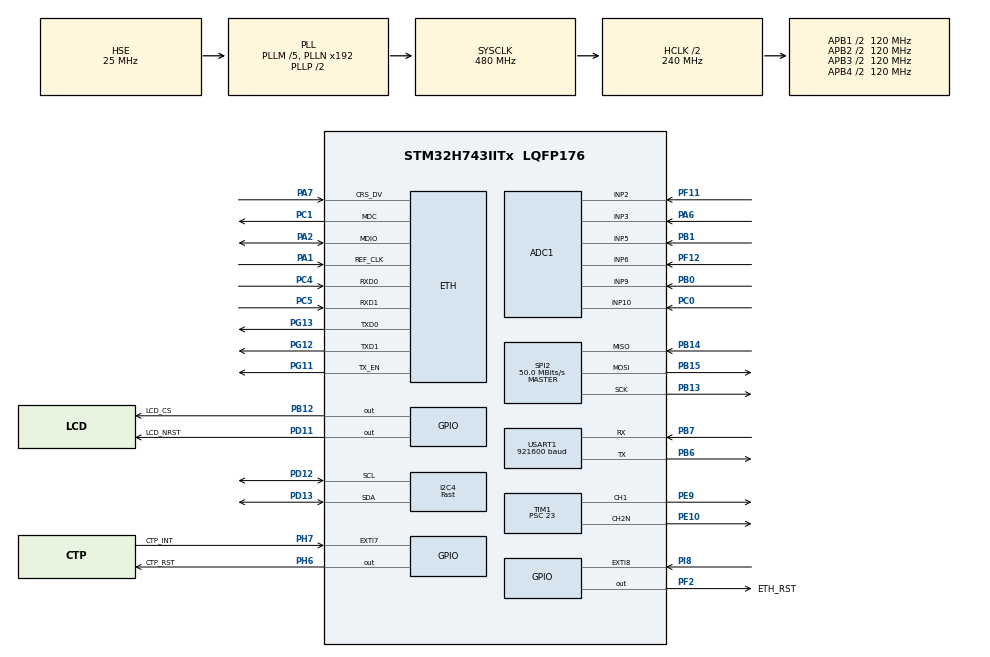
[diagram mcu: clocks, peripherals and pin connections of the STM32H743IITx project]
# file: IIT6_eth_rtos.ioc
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ADC1.Channel-0\#ChannelRegularConversion=ADC_CHANNEL_2
ADC1.Channel-1\#ChannelRegularConversion=ADC_CHANNEL_3
ADC1.Channel-2\#ChannelRegularConversion=ADC_CHANNEL_5
ADC1.Channel-3\#ChannelRegularConversion=ADC_CHANNEL_6
ADC1.Channel-4\#ChannelRegularConversion=ADC_CHANNEL_9
ADC1.Channel-5\#ChannelRegularConversion=ADC_CHANNEL_10
ADC1.ConversionDataManagement=ADC_CONVERSIONDATA_DMA_CIRCULAR
ADC1.DiscontinuousConvMode=DISABLE
ADC1.EOCSelection=ADC_EOC_SEQ_CONV
ADC1.ExternalTrigConv=ADC_EXTERNALTRIG_T15_TRGO
ADC1.NbrOfConversion=6
ADC1.NbrOfConversionFlag=1
ADC1.NbrOfDiscConversion=6
ADC1.OffsetNumber-0\#ChannelRegularConversion=ADC_OFFSET_NONE
ADC1.OffsetNumber-1\#ChannelRegularConversion=ADC_OFFSET_NONE
ADC1.OffsetNumber-2\#ChannelRegularConversion=ADC_OFFSET_NONE
ADC1.OffsetNumber-3\#ChannelRegularConversion=ADC_OFFSET_NONE
ADC1.OffsetNumber-4\#ChannelRegularConversion=ADC_OFFSET_NONE
ADC1.OffsetNumber-5\#ChannelRegularConversion=ADC_OFFSET_NONE
ADC1.OffsetSignedSaturation-0\#ChannelRegularConversion=DISABLE
ADC1.OffsetSignedSaturation-1\#ChannelRegularConversion=DISABLE
ADC1.OffsetSignedSaturation-2\#ChannelRegularConversion=DISABLE
ADC1.OffsetSignedSaturation-3\#ChannelRegularConversion=DISABLE
ADC1.OffsetSignedSaturation-4\#ChannelRegularConversion=DISABLE
ADC1.OffsetSignedSaturation-5\#ChannelRegularConversion=DISABLE
ADC1.Rank-0\#ChannelRegularConversion=1
ADC1.Rank-1\#ChannelRegularConversion=2
ADC1.Rank-2\#ChannelRegularConversion=3
ADC1.Rank-3\#ChannelRegularConversion=4
ADC1.Rank-4\#ChannelRegularConversion=5
ADC1.Rank-5\#ChannelRegularConversion=6
ADC1.SamplingTime-0\#ChannelRegularConversion=ADC_SAMPLETIME_2CYCLES_5
ADC1.SamplingTime-1\#ChannelRegularConversion=ADC_SAMPLETIME_2CYCLES_5
ADC1.SamplingTime-2\#ChannelRegularConversion=ADC_SAMPLETIME_2CYCLES_5
ADC1.SamplingTime-3\#ChannelRegularConversion=ADC_SAMPLETIME_2CYCLES_5
ADC1.SamplingTime-4\#ChannelRegularConversion=ADC_SAMPLETIME_2CYCLES_5
ADC1.SamplingTime-5\#ChannelRegularConversion=ADC_SAMPLETIME_2CYCLES_5
ADC1.master=1
CORTEX_M7.AccessPermission_S-Cortex_Memory_Protection_Unit_Region1_Settings_S=MPU_REGION_FULL_ACCESS
CORTEX_M7.AccessPermission_S-Cortex_Memory_Protection_Unit_Region2_Settings_S=MPU_REGION_FULL_ACCESS
CORTEX_M7.AccessPermission_S-Cortex_Memory_Protection_Unit_Region3_Settings_S=MPU_REGION_FULL_ACCESS
CORTEX_M7.AccessPermission_S-Cortex_Memory_Protection_Unit_Region4_Settings_S=MPU_REGION_FULL_ACCESS
CORTEX_M7.AccessPermission_S-Cortex_Memory_Protection_Unit_Region5_Settings_S=MPU_REGION_FULL_ACCESS
CORTEX_M7.AccessPermission_S-Cortex_Memory_Protection_Unit_Region6_Settings_S=MPU_REGION_FULL_ACCESS
CORTEX_M7.BaseAddress_S-Cortex_Memory_Protection_Unit_Region1_Settings_S=0x30040000
CORTEX_M7.BaseAddress_S-Cortex_Memory_Protection_Unit_Region2_Settings_S=0x30020000
CORTEX_M7.BaseAddress_S-Cortex_Memory_Protection_Unit_Region3_Settings_S=0x24000000
CORTEX_M7.BaseAddress_S-Cortex_Memory_Protection_Unit_Region5_Settings_S=0x20000000
CORTEX_M7.BaseAddress_S-Cortex_Memory_Protection_Unit_Region6_Settings_S=0x30000000
CORTEX_M7.CPU_DCache=Enabled
CORTEX_M7.CPU_ICache=Enabled
CORTEX_M7.DisableExec_S-Cortex_Memory_Protection_Unit_Region1_Settings_S=MPU_INSTRUCTION_ACCESS_DISABLE
CORTEX_M7.DisableExec_S-Cortex_Memory_Protection_Unit_Region2_Settings_S=MPU_INSTRUCTION_ACCESS_DISABLE
CORTEX_M7.DisableExec_S-Cortex_Memory_Protection_Unit_Region3_Settings_S=MPU_INSTRUCTION_ACCESS_DISABLE
CORTEX_M7.DisableExec_S-Cortex_Memory_Protection_Unit_Region5_Settings_S=MPU_INSTRUCTION_ACCESS_DISABLE
CORTEX_M7.DisableExec_S-Cortex_Memory_Protection_Unit_Region6_Settings_S=MPU_INSTRUCTION_ACCESS_DISABLE
CORTEX_M7.Enable_S-Cortex_Memory_Protection_Unit_Region1_Settings_S=MPU_REGION_ENABLE
CORTEX_M7.Enable_S-Cortex_Memory_Protection_Unit_Region2_Settings_S=MPU_REGION_ENABLE
CORTEX_M7.Enable_S-Cortex_Memory_Protection_Unit_Region3_Settings_S=MPU_REGION_ENABLE
CORTEX_M7.Enable_S-Cortex_Memory_Protection_Unit_Region4_Settings_S=MPU_REGION_ENABLE
CORTEX_M7.Enable_S-Cortex_Memory_Protection_Unit_Region5_Settings_S=MPU_REGION_ENABLE
CORTEX_M7.Enable_S-Cortex_Memory_Protection_Unit_Region6_Settings_S=MPU_REGION_ENABLE
CORTEX_M7.IsCacheable_S-Cortex_Memory_Protection_Unit_Region2_Settings_S=MPU_ACCESS_CACHEABLE
CORTEX_M7.IsCacheable_S-Cortex_Memory_Protection_Unit_Region3_Settings_S=MPU_ACCESS_CACHEABLE
CORTEX_M7.IsCacheable_S-Cortex_Memory_Protection_Unit_Region6_Settings_S=MPU_ACCESS_NOT_CACHEABLE
CORTEX_M7.IsShareable_S-Cortex_Memory_Protection_Unit_Region1_Settings_S=MPU_ACCESS_SHAREABLE
CORTEX_M7.IsShareable_S-Cortex_Memory_Protection_Unit_Region6_Settings_S=MPU_ACCESS_SHAREABLE
CORTEX_M7.Size_S-Cortex_Memory_Protection_Unit_Region1_Settings_S=MPU_REGION_SIZE_32KB
CORTEX_M7.Size_S-Cortex_Memory_Protection_Unit_Region2_Settings_S=MPU_REGION_SIZE_128KB
CORTEX_M7.Size_S-Cortex_Memory_Protection_Unit_Region3_Settings_S=MPU_REGION_SIZE_512KB
CORTEX_M7.Size_S-Cortex_Memory_Protection_Unit_Region4_Settings_S=MPU_REGION_SIZE_32KB
CORTEX_M7.Size_S-Cortex_Memory_Protection_Unit_Region5_Settings_S=MPU_REGION_SIZE_128KB
CORTEX_M7.Size_S-Cortex_Memory_Protection_Unit_Region6_Settings_S=MPU_REGION_SIZE_128KB
CORTEX_M7.TypeExtField_S-Cortex_Memory_Protection_Unit_Region1_Settings_S=MPU_TEX_LEVEL1
CORTEX_M7.TypeExtField_S-Cortex_Memory_Protection_Unit_Region2_Settings_S=MPU_TEX_LEVEL1
CORTEX_M7.TypeExtField_S-Cortex_Memory_Protection_Unit_Region3_Settings_S=MPU_TEX_LEVEL1
CORTEX_M7.TypeExtField_S-Cortex_Memory_Protection_Unit_Region4_Settings_S=MPU_TEX_LEVEL1
CORTEX_M7.TypeExtField_S-Cortex_Memory_Protection_Unit_Region5_Settings_S=MPU_TEX_LEVEL1
CORTEX_M7.TypeExtField_S-Cortex_Memory_Protection_Unit_Region6_Settings_S=MPU_TEX_LEVEL1
CORTEX_M7.default_mode_Activation=1
Dma.ADC1.1.Direction=DMA_PERIPH_TO_MEMORY
Dma.ADC1.1.EventEnable=DISABLE
Dma.ADC1.1.FIFOMode=DMA_FIFOMODE_DISABLE
Dma.ADC1.1.Instance=DMA1_Stream2
Dma.ADC1.1.MemDataAlignment=DMA_MDATAALIGN_HALFWORD
Dma.ADC1.1.MemInc=DMA_MINC_ENABLE
Dma.ADC1.1.Mode=DMA_CIRCULAR
Dma.ADC1.1.PeriphDataAlignment=DMA_PDATAALIGN_HALFWORD
Dma.ADC1.1.PeriphInc=DMA_PINC_DISABLE
Dma.ADC1.1.Polarity=HAL_DMAMUX_REQ_GEN_RISING
Dma.ADC1.1.Priority=DMA_PRIORITY_VERY_HIGH
Dma.ADC1.1.RequestNumber=1
Dma.ADC1.1.SignalID=NONE
Dma.ADC1.1.SyncEnable=DISABLE
Dma.ADC1.1.SyncPolarity=HAL_DMAMUX_SYNC_NO_EVENT
Dma.ADC1.1.SyncRequestNumber=1
Dma.ADC1.1.SyncSignalID=NONE
Dma.Request0=SPI2_TX
Dma.Request1=ADC1
Dma.SPI2_TX.0.Direction=DMA_MEMORY_TO_PERIPH
Dma.SPI2_TX.0.EventEnable=DISABLE
Dma.SPI2_TX.0.FIFOMode=DMA_FIFOMODE_ENABLE
Dma.SPI2_TX.0.FIFOThreshold=DMA_FIFO_THRESHOLD_FULL
Dma.SPI2_TX.0.Instance=DMA1_Stream0
Dma.SPI2_TX.0.MemBurst=DMA_MBURST_INC8
Dma.SPI2_TX.0.MemDataAlignment=DMA_MDATAALIGN_BYTE
Dma.SPI2_TX.0.MemInc=DMA_MINC_ENABLE
Dma.SPI2_TX.0.Mode=DMA_NORMAL
Dma.SPI2_TX.0.PeriphBurst=DMA_PBURST_SINGLE
Dma.SPI2_TX.0.PeriphDataAlignment=DMA_PDATAALIGN_BYTE
Dma.SPI2_TX.0.PeriphInc=DMA_PINC_DISABLE
Dma.SPI2_TX.0.Polarity=HAL_DMAMUX_REQ_GEN_RISING
Dma.SPI2_TX.0.Priority=DMA_PRIORITY_HIGH
Dma.SPI2_TX.0.RequestNumber=1
Dma.SPI2_TX.0.SignalID=NONE
Dma.SPI2_TX.0.SyncEnable=DISABLE
Dma.SPI2_TX.0.SyncPolarity=HAL_DMAMUX_SYNC_NO_EVENT
Dma.SPI2_TX.0.SyncRequestNumber=1
Dma.SPI2_TX.0.SyncSignalID=NONE
ETH.MediaInterface=HAL_ETH_RMII_MODE
ETH.RxBufferAddress=0x30040100
ETH.RxDescAddress=0x30040000
ETH.TxDescAddress=0x30040080
FREERTOS.HEAP_NUMBER=5
FREERTOS.Tasks01=defaultTask,24,1024,StartDefaultTask,Default,NULL,Dynamic,NULL,NULL
FREERTOS.configCHECK_FOR_STACK_OVERFLOW=2
FREERTOS.configENABLE_FPU=1
FREERTOS.configGENERATE_RUN_TIME_STATS=1
FREERTOS.configTOTAL_HEAP_SIZE=10240
FREERTOS.configUSE_MALLOC_FAILED_HOOK=1
FREERTOS.configUSE_STATS_FORMATTING_FUNCTIONS=1
I2C4.I2C_Speed_Mode=I2C_Fast
I2C4.Timing=0x009034B6
LWIP.BSP.number=1
LWIP.IP_ADDRESS=192.168.022.002
LWIP.LWIP_DHCP=0
LWIP.LWIP_RAM_HEAP_POINTER=0x30042000
LWIP.LWIP_TIMERS=1
LWIP.MEM_SIZE=10*1024
LWIP.Version=v2.1.2_Cube
LWIP0.BSP.STBoard=false
LWIP0.BSP.api=BSP_COMPONENT_DRIVER
LWIP0.BSP.component=LAN8742
LWIP0.BSP.instance=LAN8742
LWIP0.BSP.name=Driver_PHY
LWIP0.BSP.semaphore=S_LAN8742
LWIP0.BSP.solution=LAN8742
Mcu.Family=STM32H7
Mcu.Name=STM32H743IITx
Mcu.Package=LQFP176
NVIC.DMA1_Stream0_IRQn=true\:5\:0\:true\:false\:true\:true\:false\:true\:true
NVIC.DMA1_Stream2_IRQn=true\:5\:0\:false\:false\:true\:true\:false\:true\:true
NVIC.ETH_IRQn=true\:5\:0\:false\:false\:true\:true\:true\:true\:true
NVIC.ETH_WKUP_IRQn=true\:5\:0\:false\:false\:true\:true\:true\:true\:true
NVIC.EXTI9_5_IRQn=true\:6\:0\:true\:false\:true\:true\:true\:true\:true
NVIC.PriorityGroup=NVIC_PRIORITYGROUP_4
NVIC.SPI2_IRQn=true\:5\:0\:false\:false\:true\:true\:false\:true\:true
NVIC.TIM6_DAC_IRQn=true\:15\:0\:false\:false\:true\:false\:false\:true\:true
NVIC.TimeBase=TIM6_DAC_IRQn
NVIC.TimeBaseIP=TIM6
NVIC.USART1_IRQn=true\:6\:0\:true\:false\:true\:true\:true\:true\:true
PA1.GPIO_Speed=GPIO_SPEED_FREQ_VERY_HIGH
PA1.Mode=RMII
PA1.Signal=ETH_REF_CLK
PA13\ (JTMS/SWDIO).Mode=Serial_Wire
PA13\ (JTMS/SWDIO).Signal=DEBUG_JTMS-SWDIO
PA14\ (JTCK/SWCLK).Mode=Serial_Wire
PA14\ (JTCK/SWCLK).Signal=DEBUG_JTCK-SWCLK
PA2.GPIO_Speed=GPIO_SPEED_FREQ_VERY_HIGH
PA2.Mode=RMII
PA2.Signal=ETH_MDIO
PA6.Signal=ADCx_INP3
PA7.GPIO_Speed=GPIO_SPEED_FREQ_VERY_HIGH
PA7.Mode=RMII
PA7.Signal=ETH_CRS_DV
PB0.Signal=ADCx_INP9
PB1.Signal=ADCx_INP5
PB12.GPIO_Label=LCD_CS
PB12.GPIO_Speed=GPIO_SPEED_FREQ_LOW
PB12.Signal=GPIO_Output
PB13.GPIO_Speed=GPIO_SPEED_FREQ_VERY_HIGH
PB13.Mode=Full_Duplex_Master
PB13.Signal=SPI2_SCK
PB14.GPIO_Speed=GPIO_SPEED_FREQ_VERY_HIGH
PB14.Mode=Full_Duplex_Master
PB14.Signal=SPI2_MISO
PB15.GPIO_Speed=GPIO_SPEED_FREQ_VERY_HIGH
PB15.Mode=Full_Duplex_Master
PB15.Signal=SPI2_MOSI
PB6.Mode=Asynchronous
PB6.Signal=USART1_TX
PB7.Mode=Asynchronous
PB7.Signal=USART1_RX
PC0.Signal=ADCx_INP10
PC1.GPIO_Speed=GPIO_SPEED_FREQ_VERY_HIGH
PC1.Mode=RMII
PC1.Signal=ETH_MDC
PC14-OSC32_IN\ (OSC32_IN).Mode=LSE-External-Oscillator
PC14-OSC32_IN\ (OSC32_IN).Signal=RCC_OSC32_IN
PC15-OSC32_OUT\ (OSC32_OUT).Mode=LSE-External-Oscillator
PC15-OSC32_OUT\ (OSC32_OUT).Signal=RCC_OSC32_OUT
PC4.GPIO_Speed=GPIO_SPEED_FREQ_VERY_HIGH
PC4.Mode=RMII
PC4.Signal=ETH_RXD0
PC5.GPIO_Speed=GPIO_SPEED_FREQ_VERY_HIGH
PC5.Mode=RMII
PC5.Signal=ETH_RXD1
PD11.GPIO_Label=LCD_NRST
PD11.GPIO_Speed=GPIO_SPEED_FREQ_LOW
PD11.Signal=GPIO_Output
PD12.Mode=I2C
PD12.Signal=I2C4_SCL
PD13.Mode=I2C
PD13.Signal=I2C4_SDA
PE10.Mode=PWM Generation2 CH2N
PE10.Signal=TIM1_CH2N
PE9.Signal=S_TIM1_CH1
PF11.Mode=IN2-Single-Ended
PF11.Signal=ADC1_INP2
PF12.Mode=IN6-Single-Ended
PF12.Signal=ADC1_INP6
PF2.GPIO_Label=ETH_RST
PF2.GPIO_Speed=GPIO_SPEED_FREQ_VERY_HIGH
PF2.PinState=GPIO_PIN_SET
PF2.Signal=GPIO_Output
PG11.GPIO_Speed=GPIO_SPEED_FREQ_VERY_HIGH
PG11.Mode=RMII
PG11.Signal=ETH_TX_EN
PG12.GPIO_Speed=GPIO_SPEED_FREQ_VERY_HIGH
PG12.Mode=RMII
PG12.Signal=ETH_TXD1
PG13.GPIO_Speed=GPIO_SPEED_FREQ_VERY_HIGH
PG13.Mode=RMII
PG13.Signal=ETH_TXD0
PH0-OSC_IN\ (PH0).Mode=HSE-External-Oscillator
PH0-OSC_IN\ (PH0).Signal=RCC_OSC_IN
PH1-OSC_OUT\ (PH1).Mode=HSE-External-Oscillator
PH1-OSC_OUT\ (PH1).Signal=RCC_OSC_OUT
PH6.GPIO_Label=CTP_RST
PH6.Signal=GPIO_Output
PH7.GPIO_Label=CTP_INT
PH7.GPIO_ModeDefaultEXTI=GPIO_MODE_IT_FALLING
PH7.Signal=GPXTI7
PI8.GPIO_ModeDefaultEXTI=GPIO_MODE_IT_RISING_FALLING
PI8.GPIO_PuPd=GPIO_PULLDOWN
PI8.Signal=GPXTI8
ProjectManager.HeapSize=0x200
ProjectManager.StackSize=0x400
ProjectManager.TargetToolchain=CMake
RCC.ADCFreq_Value=100000000
RCC.APB1Freq_Value=120000000
RCC.APB2Freq_Value=120000000
RCC.APB3Freq_Value=120000000
RCC.APB4Freq_Value=120000000
RCC.CortexFreq_Value=480000000
RCC.D1PPRE=RCC_APB3_DIV2
RCC.D2PPRE1=RCC_APB1_DIV2
RCC.D2PPRE2=RCC_APB2_DIV2
RCC.D3PPRE=RCC_APB4_DIV2
RCC.DIVM1=5
RCC.DIVM2=5
RCC.DIVM3=5
RCC.DIVN1=192
RCC.DIVN2=100
RCC.DIVN3=100
RCC.DIVP2=5
RCC.DIVQ1=8
RCC.DIVR3=5
RCC.EnbaleCSS=true
RCC.HCLKFreq_Value=240000000
RCC.HPRE=RCC_HCLK_DIV2
RCC.I2C4CLockSelection=RCC_I2C4CLKSOURCE_PLL3
RCC.PLL2FRACN=0
RCC.PLL3FRACN=0
RCC.PLLFRACN=0
RCC.PLLSourceVirtual=RCC_PLLSOURCE_HSE
RCC.SPI123CLockSelection=RCC_SPI123CLKSOURCE_PLL2
RCC.SYSCLKFreq_VALUE=480000000
RCC.SYSCLKSource=RCC_SYSCLKSOURCE_PLLCLK
RCC.USBFreq_Value=120000000
SH.ADCx_INP10.0=ADC1_INP10,IN10-Single-Ended
SH.ADCx_INP3.0=ADC1_INP3,IN3-Single-Ended
SH.ADCx_INP5.0=ADC1_INP5,IN5-Single-Ended
SH.ADCx_INP9.0=ADC1_INP9,IN9-Single-Ended
SH.S_TIM1_CH1.0=TIM1_CH1,PWM Generation1 CH1
SPI2.BaudRatePrescaler=SPI_BAUDRATEPRESCALER_2
SPI2.CLKPhase=SPI_PHASE_2EDGE
SPI2.CLKPolarity=SPI_POLARITY_HIGH
SPI2.CalculateBaudRate=50.0 MBits/s
SPI2.DataSize=SPI_DATASIZE_8BIT
SPI2.Direction=SPI_DIRECTION_2LINES
SPI2.Mode=SPI_MODE_MASTER
SPI2.VirtualType=VM_MASTER
TIM1.AutoReloadPreload=TIM_AUTORELOAD_PRELOAD_ENABLE
TIM1.Channel-PWM\ Generation1\ CH1=TIM_CHANNEL_1
TIM1.Channel-PWM\ Generation2\ CH2N=TIM_CHANNEL_2
TIM1.CounterMode=TIM_COUNTERMODE_CENTERALIGNED3
TIM1.Period=249
TIM1.Prescaler=23
TIM1.RepetitionCounter=1
TIM1.TIM_MasterOutputTrigger=TIM_TRGO_UPDATE
TIM15.Channel-Output\ Compare1\ No\ Output=TIM_CHANNEL_1
TIM15.Period=499
TIM15.Prescaler=23
TIM15.TIM_MasterOutputTrigger=TIM_TRGO_OC1REF
USART1.BaudRate=921600
USART1.VirtualMode-Asynchronous=VM_ASYNC
VP_FREERTOS_VS_CMSIS_V2.Mode=CMSIS_V2
VP_LWIP_VS_Enabled.Mode=Enabled
VP_MEMORYMAP_VS_MEMORYMAP.Mode=CurAppReg
VP_SYS_VS_tim6.Mode=TIM6
VP_TIM15_VS_ClockSourceITR.Mode=TriggerSource_ITR0
VP_TIM15_VS_ControllerModeReset.Mode=Reset Mode
VP_TIM15_VS_no_output1.Mode=Output Compare1 No Output
VP_TIM1_VS_ClockSourceINT.Mode=Internal
board=custom

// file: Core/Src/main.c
/* USER CODE BEGIN Header */
/**
  ******************************************************************************
  * @file           : main.c
  * @brief          : Main program body
  ******************************************************************************
  * @attention
  *
  * Copyright (c) 2025 STMicroelectronics.
  * All rights reserved.
  *
  * This software is licensed under terms that can be found in the LICENSE file
  * in the root directory of this software component.
  * If no LICENSE file comes with this software, it is provided AS-IS.
  *
  ******************************************************************************
  */
/* USER CODE END Header */
#include "main.h"
#include "cmsis_os.h"
#include "adc.h"
#include "dma.h"
#include "i2c.h"
#include "lwip.h"
#include "spi.h"
#include "tim.h"
#include "usart.h"
#include "gpio.h"

void SystemClock_Config(void);
void PeriphCommonClock_Config(void);
static void MPU_Config(void);
void MX_FREERTOS_Init(void);
/* USER CODE BEGIN PFP */
#ifdef __cplusplus
extern "C" {
#endif

extern void EnableTCM(void);
extern void AppMemoryInit(void);
extern void AppDriversInit(void);
extern void AppOsObjectsInit(void);
extern void StartAppTasks(void);

#ifdef __cplusplus
}
#endif
/* USER CODE END PFP */

int main(void)
{

  /* USER CODE BEGIN 1 */

  /* Enable ITCM/DTCM before cache and HAL init */
  EnableTCM();
  /* USER CODE END 1 */

  /* MPU Configuration--------------------------------------------------------*/
  MPU_Config();

  /* Enable the CPU Cache */

  /* Enable I-Cache---------------------------------------------------------*/
  SCB_EnableICache();

  /* Enable D-Cache---------------------------------------------------------*/
  SCB_EnableDCache();

  /* MCU Configuration--------------------------------------------------------*/

  /* Reset of all peripherals, Initializes the Flash interface and the Systick. */
  HAL_Init();

  /* Configure the system clock */
  SystemClock_Config();

  /* Configure the peripherals common clocks */
  PeriphCommonClock_Config();

  /* USER CODE BEGIN SysInit */
  AppMemoryInit();
  /* USER CODE END SysInit */

  /* Initialize all configured peripherals */
  MX_GPIO_Init();
  MX_DMA_Init();
  MX_USART1_UART_Init();
  MX_SPI2_Init();
  MX_ADC1_Init();
  MX_I2C4_Init();
  MX_TIM1_Init();
  MX_TIM15_Init();
  /* USER CODE BEGIN 2 */
  AppDriversInit();
  AppOsObjectsInit();

  /* USER CODE END 2 */

  /* Init scheduler */
  osKernelInitialize();  /* Call init function for freertos objects (in cmsis_os2.c) */
  MX_FREERTOS_Init();

  /* USER CODE BEGIN PostRTOSInit */
  StartAppTasks();
  /* USER CODE END PostRTOSInit */

  /* Start scheduler */
  osKernelStart();

  /* We should never get here as control is now taken by the scheduler */

  /* Infinite loop */
  while (1)
  {

    /* USER CODE BEGIN 3 */
  // MX_LWIP_Process();
  }
  /* USER CODE END 3 */
}

void SystemClock_Config(void)
{
  RCC_OscInitTypeDef RCC_OscInitStruct = {0};
  RCC_ClkInitTypeDef RCC_ClkInitStruct = {0};

  /** Supply configuration update enable
  */
  HAL_PWREx_ConfigSupply(PWR_LDO_SUPPLY);

  /** Configure the main internal regulator output voltage
  */
  __HAL_PWR_VOLTAGESCALING_CONFIG(PWR_REGULATOR_VOLTAGE_SCALE0);

  while(!__HAL_PWR_GET_FLAG(PWR_FLAG_VOSRDY)) {}

  /** Initializes the RCC Oscillators according to the specified parameters
  * in the RCC_OscInitTypeDef structure.
  */
  RCC_OscInitStruct.OscillatorType = RCC_OSCILLATORTYPE_HSE;
  RCC_OscInitStruct.HSEState = RCC_HSE_ON;
  RCC_OscInitStruct.PLL.PLLState = RCC_PLL_ON;
  RCC_OscInitStruct.PLL.PLLSource = RCC_PLLSOURCE_HSE;
  RCC_OscInitStruct.PLL.PLLM = 5;
  RCC_OscInitStruct.PLL.PLLN = 192;
  RCC_OscInitStruct.PLL.PLLP = 2;
  RCC_OscInitStruct.PLL.PLLQ = 8;
  RCC_OscInitStruct.PLL.PLLR = 2;
  RCC_OscInitStruct.PLL.PLLRGE = RCC_PLL1VCIRANGE_2;
  RCC_OscInitStruct.PLL.PLLVCOSEL = RCC_PLL1VCOWIDE;
  RCC_OscInitStruct.PLL.PLLFRACN = 0;
  if (HAL_RCC_OscConfig(&RCC_OscInitStruct) != HAL_OK)
  {
    Error_Handler();
  }

  /** Initializes the CPU, AHB and APB buses clocks
  */
  RCC_ClkInitStruct.ClockType = RCC_CLOCKTYPE_HCLK|RCC_CLOCKTYPE_SYSCLK
                              |RCC_CLOCKTYPE_PCLK1|RCC_CLOCKTYPE_PCLK2
                              |RCC_CLOCKTYPE_D3PCLK1|RCC_CLOCKTYPE_D1PCLK1;
  RCC_ClkInitStruct.SYSCLKSource = RCC_SYSCLKSOURCE_PLLCLK;
  RCC_ClkInitStruct.SYSCLKDivider = RCC_SYSCLK_DIV1;
  RCC_ClkInitStruct.AHBCLKDivider = RCC_HCLK_DIV2;
  RCC_ClkInitStruct.APB3CLKDivider = RCC_APB3_DIV2;
  RCC_ClkInitStruct.APB1CLKDivider = RCC_APB1_DIV2;
  RCC_ClkInitStruct.APB2CLKDivider = RCC_APB2_DIV2;
  RCC_ClkInitStruct.APB4CLKDivider = RCC_APB4_DIV2;

  if (HAL_RCC_ClockConfig(&RCC_ClkInitStruct, FLASH_LATENCY_4) != HAL_OK)
  {
    Error_Handler();
  }

  /** Enables the Clock Security System
  */
  HAL_RCC_EnableCSS();
}

void PeriphCommonClock_Config(void)
{
  RCC_PeriphCLKInitTypeDef PeriphClkInitStruct = {0};

  /** Initializes the peripherals clock
  */
  PeriphClkInitStruct.PeriphClockSelection = RCC_PERIPHCLK_ADC|RCC_PERIPHCLK_SPI2;
  PeriphClkInitStruct.PLL2.PLL2M = 5;
  PeriphClkInitStruct.PLL2.PLL2N = 100;
  PeriphClkInitStruct.PLL2.PLL2P = 5;
  PeriphClkInitStruct.PLL2.PLL2Q = 2;
  PeriphClkInitStruct.PLL2.PLL2R = 2;
  PeriphClkInitStruct.PLL2.PLL2RGE = RCC_PLL2VCIRANGE_2;
  PeriphClkInitStruct.PLL2.PLL2VCOSEL = RCC_PLL2VCOWIDE;
  PeriphClkInitStruct.PLL2.PLL2FRACN = 0;
  PeriphClkInitStruct.Spi123ClockSelection = RCC_SPI123CLKSOURCE_PLL2;
  PeriphClkInitStruct.AdcClockSelection = RCC_ADCCLKSOURCE_PLL2;
  if (HAL_RCCEx_PeriphCLKConfig(&PeriphClkInitStruct) != HAL_OK)
  {
    Error_Handler();
  }
}

 /* MPU Configuration */

void MPU_Config(void)
{
  MPU_Region_InitTypeDef MPU_InitStruct = {0};

  /* Disables the MPU */
  HAL_MPU_Disable();

  /** Initializes and configures the Region and the memory to be protected
  */
  MPU_InitStruct.Enable = MPU_REGION_ENABLE;
  MPU_InitStruct.Number = MPU_REGION_NUMBER0;
  MPU_InitStruct.BaseAddress = 0x0;
  MPU_InitStruct.Size = MPU_REGION_SIZE_4GB;
  MPU_InitStruct.SubRegionDisable = 0x87;
  MPU_InitStruct.TypeExtField = MPU_TEX_LEVEL0;
  MPU_InitStruct.AccessPermission = MPU_REGION_NO_ACCESS;
  MPU_InitStruct.DisableExec = MPU_INSTRUCTION_ACCESS_DISABLE;
  MPU_InitStruct.IsShareable = MPU_ACCESS_SHAREABLE;
  MPU_InitStruct.IsCacheable = MPU_ACCESS_NOT_CACHEABLE;
  MPU_InitStruct.IsBufferable = MPU_ACCESS_NOT_BUFFERABLE;

  HAL_MPU_ConfigRegion(&MPU_InitStruct);

  /** Initializes and configures the Region and the memory to be protected
  */
  MPU_InitStruct.Number = MPU_REGION_NUMBER1;
  MPU_InitStruct.BaseAddress = 0x30040000;
  MPU_InitStruct.Size = MPU_REGION_SIZE_32KB;
  MPU_InitStruct.SubRegionDisable = 0x0;
  MPU_InitStruct.TypeExtField = MPU_TEX_LEVEL1;
  MPU_InitStruct.AccessPermission = MPU_REGION_FULL_ACCESS;

  HAL_MPU_ConfigRegion(&MPU_InitStruct);

  /** Initializes and configures the Region and the memory to be protected
  */
  MPU_InitStruct.Number = MPU_REGION_NUMBER2;
  MPU_InitStruct.BaseAddress = 0x30020000;
  MPU_InitStruct.Size = MPU_REGION_SIZE_128KB;
  MPU_InitStruct.IsShareable = MPU_ACCESS_NOT_SHAREABLE;
  MPU_InitStruct.IsCacheable = MPU_ACCESS_CACHEABLE;

  HAL_MPU_ConfigRegion(&MPU_InitStruct);

  /** Initializes and configures the Region and the memory to be protected
  */
  MPU_InitStruct.Number = MPU_REGION_NUMBER3;
  MPU_InitStruct.BaseAddress = 0x24000000;
  MPU_InitStruct.Size = MPU_REGION_SIZE_512KB;

  HAL_MPU_ConfigRegion(&MPU_InitStruct);

  /** Initializes and configures the Region and the memory to be protected
  */
  MPU_InitStruct.Number = MPU_REGION_NUMBER4;
  MPU_InitStruct.BaseAddress = 0x0;
  MPU_InitStruct.Size = MPU_REGION_SIZE_32KB;
  MPU_InitStruct.DisableExec = MPU_INSTRUCTION_ACCESS_ENABLE;
  MPU_InitStruct.IsCacheable = MPU_ACCESS_NOT_CACHEABLE;

  HAL_MPU_ConfigRegion(&MPU_InitStruct);

  /** Initializes and configures the Region and the memory to be protected
  */
  MPU_InitStruct.Number = MPU_REGION_NUMBER5;
  MPU_InitStruct.BaseAddress = 0x20000000;
  MPU_InitStruct.Size = MPU_REGION_SIZE_128KB;
  MPU_InitStruct.DisableExec = MPU_INSTRUCTION_ACCESS_DISABLE;

  HAL_MPU_ConfigRegion(&MPU_InitStruct);

  /** Initializes and configures the Region and the memory to be protected
  */
  MPU_InitStruct.Number = MPU_REGION_NUMBER6;
  MPU_InitStruct.BaseAddress = 0x30000000;
  MPU_InitStruct.IsShareable = MPU_ACCESS_SHAREABLE;

  HAL_MPU_ConfigRegion(&MPU_InitStruct);
  /* Enables the MPU */
  HAL_MPU_Enable(MPU_PRIVILEGED_DEFAULT);

}

void HAL_TIM_PeriodElapsedCallback(TIM_HandleTypeDef *htim)
{
  if (htim->Instance == TIM6)
  {
    HAL_IncTick();
  }
}

void Error_Handler(void)
{
  __disable_irq();
  while (1)
  {
  }
}

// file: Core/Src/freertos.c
/* USER CODE BEGIN Header */
/**
  ******************************************************************************
  * File Name          : freertos.c
  * Description        : Code for freertos applications
  ******************************************************************************
  * @attention
  *
  * Copyright (c) 2025 STMicroelectronics.
  * All rights reserved.
  *
  * This software is licensed under terms that can be found in the LICENSE file
  * in the root directory of this software component.
  * If no LICENSE file comes with this software, it is provided AS-IS.
  *
  ******************************************************************************
  */
/* USER CODE END Header */

#include "FreeRTOS.h"
#include "task.h"
#include "main.h"
#include "cmsis_os.h"

/* Definitions for defaultTask */
osThreadId_t defaultTaskHandle;
const osThreadAttr_t defaultTask_attributes = {
  .name = "defaultTask",
  .stack_size = 1024 * 4,
  .priority = (osPriority_t) osPriorityNormal,
};

void StartDefaultTask(void *argument);

extern void MX_LWIP_Init(void);
void MX_FREERTOS_Init(void); /* (MISRA C 2004 rule 8.1) */

/* Hook prototypes */
void configureTimerForRunTimeStats(void);
unsigned long getRunTimeCounterValue(void);
void vApplicationStackOverflowHook(xTaskHandle xTask, signed char *pcTaskName);
void vApplicationMallocFailedHook(void);

/* USER CODE BEGIN 1 */
/* Functions needed when configGENERATE_RUN_TIME_STATS is on */
__weak void configureTimerForRunTimeStats(void)
{

}

__weak unsigned long getRunTimeCounterValue(void)
{
return 0;
}
/* USER CODE END 1 */

/* USER CODE BEGIN 4 */
void vApplicationStackOverflowHook(xTaskHandle xTask, signed char *pcTaskName)
{
   /* Run time stack overflow checking is performed if
   configCHECK_FOR_STACK_OVERFLOW is defined to 1 or 2. This hook function is
   called if a stack overflow is detected. */
}
/* USER CODE END 4 */

/* USER CODE BEGIN 5 */
void vApplicationMallocFailedHook(void)
{
   /* vApplicationMallocFailedHook() will only be called if
   configUSE_MALLOC_FAILED_HOOK is set to 1 in FreeRTOSConfig.h. It is a hook
   function that will get called if a call to pvPortMalloc() fails.
   pvPortMalloc() is called internally by the kernel whenever a task, queue,
   timer or semaphore is created. It is also called by various parts of the
   demo application. If heap_1.c or heap_2.c are used, then the size of the
   heap available to pvPortMalloc() is defined by configTOTAL_HEAP_SIZE in
   FreeRTOSConfig.h, and the xPortGetFreeHeapSize() API function can be used
   to query the size of free heap space that remains (although it does not
   provide information on how the remaining heap might be fragmented). */
}
/* USER CODE END 5 */

void MX_FREERTOS_Init(void) {

  /* Create the thread(s) */
  /* creation of defaultTask */
  defaultTaskHandle = osThreadNew(StartDefaultTask, NULL, &defaultTask_attributes);

}

void StartDefaultTask(void *argument)
{
  /* init code for LWIP */
  MX_LWIP_Init();
  for(;;)
  {
    osDelay(1);
  }
}
